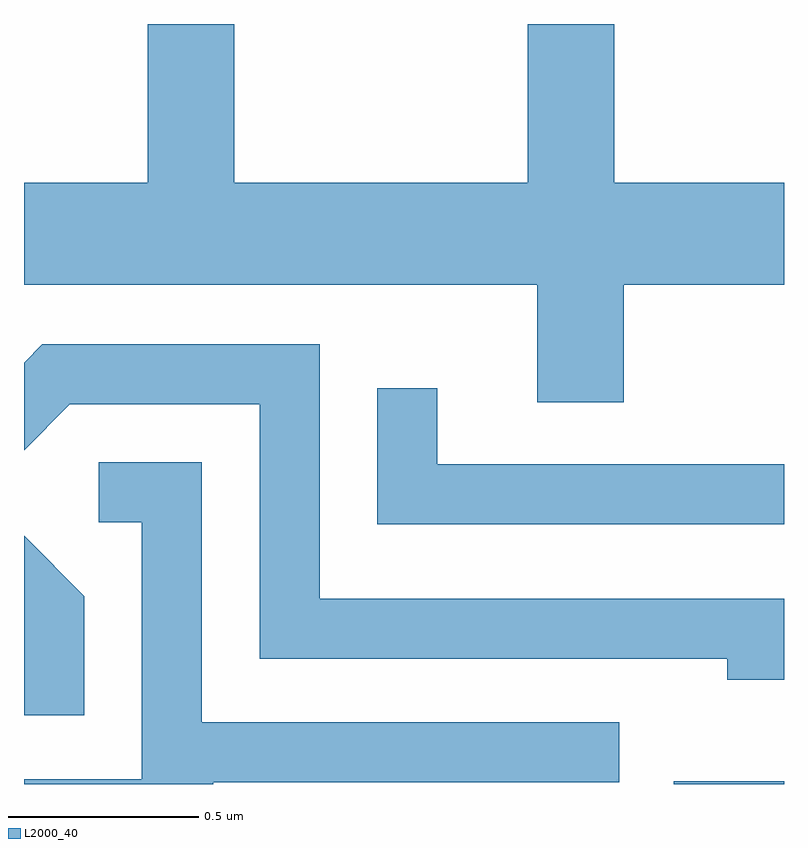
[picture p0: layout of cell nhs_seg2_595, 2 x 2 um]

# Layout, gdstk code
import gdstk
lib = gdstk.Library(unit=1e-6, precision=1e-09)
def R(c, l, rs):  # rectangles x0, y0, x1, y1
    for r in rs: c.add(gdstk.rectangle(r[:2], r[2:], *l))
def P(c, l, *ps):  # polygons
    for p in ps: c.add(gdstk.Polygon(p, *l))
L2000_40 = (2000, 40)

nhs_seg2_595 = lib.new_cell('nhs_seg2_595')
R(nhs_seg2_595, L2000_40, [(191.321,1024.802,191.611,1024.809)])
P(nhs_seg2_595, L2000_40, [(191.189,1026.116),(191.611,1026.116),(191.611,1026.384),(191.164,1026.384),(191.164,1026.802),(190.936,1026.802),(190.936,1026.384),(190.164,1026.384),(190.164,1026.802),(189.936,1026.802),(189.936,1026.384),(189.611,1026.384),(189.611,1026.116),(190.961,1026.116),(190.961,1025.806),(191.189,1025.806)],
  [(191.611,1025.289),(190.389,1025.289),(190.389,1025.959),(189.659,1025.959),(189.611,1025.911),(189.611,1025.68),(189.732,1025.801),(190.231,1025.801),(190.231,1025.131),(191.461,1025.131),(191.461,1025.076),(191.611,1025.076)],
  [(191.611,1025.644),(190.699,1025.644),(190.699,1025.843),(190.541,1025.843),(190.541,1025.486),(191.611,1025.486)],
  [(190.109,1024.806),(191.178,1024.806),(191.178,1024.964),(190.079,1024.964),(190.079,1025.649),(189.808,1025.649),(189.808,1025.491),(189.921,1025.491),(189.921,1024.814),(189.611,1024.814),(189.611,1024.802),(190.109,1024.802)],
  [(189.769,1025.296),(189.611,1025.455),(189.611,1024.983),(189.769,1024.983)])

lib.write_gds('nhs_seg2_595.gds')
